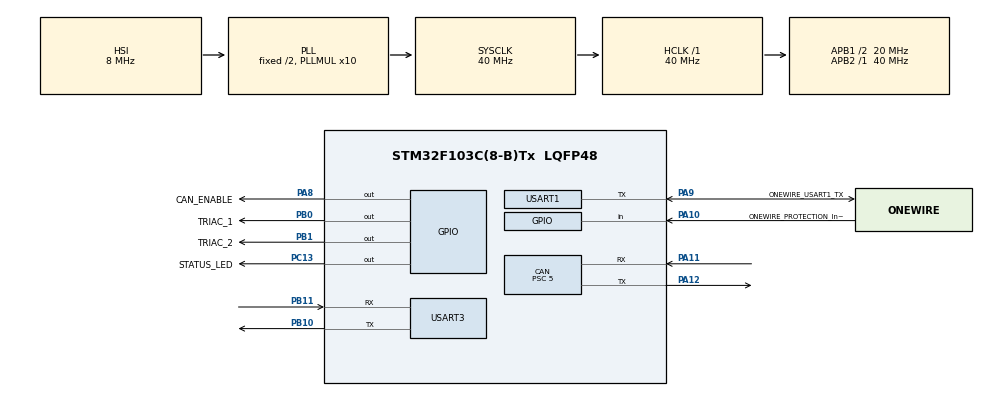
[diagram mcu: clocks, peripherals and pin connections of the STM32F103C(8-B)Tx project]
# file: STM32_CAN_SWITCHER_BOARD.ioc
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CAN.BS1=CAN_BS1_6TQ
CAN.CalculateBaudRate=500000
CAN.CalculateTimeBit=2000
CAN.CalculateTimeQuantum=250.0
CAN.Prescaler=5
Dma.Request0=USART3_TX
Dma.Request1=USART1_RX
Dma.Request2=USART1_TX
Dma.USART1_RX.1.Direction=DMA_PERIPH_TO_MEMORY
Dma.USART1_RX.1.Instance=DMA1_Channel5
Dma.USART1_RX.1.MemDataAlignment=DMA_MDATAALIGN_BYTE
Dma.USART1_RX.1.MemInc=DMA_MINC_ENABLE
Dma.USART1_RX.1.Mode=DMA_NORMAL
Dma.USART1_RX.1.PeriphDataAlignment=DMA_PDATAALIGN_BYTE
Dma.USART1_RX.1.PeriphInc=DMA_PINC_DISABLE
Dma.USART1_RX.1.Priority=DMA_PRIORITY_LOW
Dma.USART1_TX.2.Direction=DMA_MEMORY_TO_PERIPH
Dma.USART1_TX.2.Instance=DMA1_Channel4
Dma.USART1_TX.2.MemDataAlignment=DMA_MDATAALIGN_BYTE
Dma.USART1_TX.2.MemInc=DMA_MINC_ENABLE
Dma.USART1_TX.2.Mode=DMA_NORMAL
Dma.USART1_TX.2.PeriphDataAlignment=DMA_PDATAALIGN_BYTE
Dma.USART1_TX.2.PeriphInc=DMA_PINC_DISABLE
Dma.USART1_TX.2.Priority=DMA_PRIORITY_LOW
Dma.USART3_TX.0.Direction=DMA_MEMORY_TO_PERIPH
Dma.USART3_TX.0.Instance=DMA1_Channel2
Dma.USART3_TX.0.MemDataAlignment=DMA_MDATAALIGN_BYTE
Dma.USART3_TX.0.MemInc=DMA_MINC_ENABLE
Dma.USART3_TX.0.Mode=DMA_NORMAL
Dma.USART3_TX.0.PeriphDataAlignment=DMA_PDATAALIGN_BYTE
Dma.USART3_TX.0.PeriphInc=DMA_PINC_DISABLE
Dma.USART3_TX.0.Priority=DMA_PRIORITY_LOW
Mcu.Family=STM32F1
Mcu.Name=STM32F103C(8-B)Tx
Mcu.Package=LQFP48
NVIC.DMA1_Channel2_IRQn=true\:0\:0\:false\:false\:true\:false\:true\:true
NVIC.DMA1_Channel4_IRQn=true\:0\:0\:false\:false\:true\:false\:true\:true
NVIC.DMA1_Channel5_IRQn=true\:0\:0\:false\:false\:true\:false\:true\:true
NVIC.PriorityGroup=NVIC_PRIORITYGROUP_4
NVIC.TIM4_IRQn=true\:0\:0\:false\:false\:true\:true\:true\:true
NVIC.USART1_IRQn=true\:0\:0\:false\:false\:true\:true\:true\:true
NVIC.USART3_IRQn=true\:0\:0\:false\:false\:true\:true\:true\:true
PA10.GPIO_Label=ONEWIRE_PROTECTION_Input
PA10.GPIO_PuPd=GPIO_PULLUP
PA10.Signal=GPIO_Input
PA11.Mode=CAN_Activate
PA11.Signal=CAN_RX
PA12.Mode=CAN_Activate
PA12.Signal=CAN_TX
PA13.Mode=Serial_Wire
PA13.Signal=SYS_JTMS-SWDIO
PA14.Mode=Serial_Wire
PA14.Signal=SYS_JTCK-SWCLK
PA8.GPIO_Label=CAN_ENABLE
PA8.Signal=GPIO_Output
PA9.GPIO_Label=ONEWIRE_USART1_TX
PA9.Mode=Half_duplex(single_wire_mode)
PA9.Signal=USART1_TX
PB0.GPIO_Label=TRIAC_1
PB0.GPIO_ModeDefaultOutputPP=GPIO_MODE_OUTPUT_OD
PB0.GPIO_PuPd=GPIO_NOPULL
PB0.PinState=GPIO_PIN_SET
PB0.Signal=GPIO_Output
PB1.GPIO_Label=TRIAC_2
PB1.GPIO_ModeDefaultOutputPP=GPIO_MODE_OUTPUT_OD
PB1.GPIO_PuPd=GPIO_NOPULL
PB1.PinState=GPIO_PIN_SET
PB1.Signal=GPIO_Output
PB10.Mode=Asynchronous
PB10.Signal=USART3_TX
PB11.Mode=Asynchronous
PB11.Signal=USART3_RX
PC13-TAMPER-RTC.GPIO_Label=STATUS_LED
PC13-TAMPER-RTC.GPIO_ModeDefaultOutputPP=GPIO_MODE_OUTPUT_PP
PC13-TAMPER-RTC.GPIO_PuPd=GPIO_NOPULL
PC13-TAMPER-RTC.Signal=GPIO_Output
ProjectManager.HeapSize=0x200
ProjectManager.StackSize=0x400
ProjectManager.TargetToolchain=Makefile
RCC.AHBFreq_Value=40000000
RCC.APB1CLKDivider=RCC_HCLK_DIV2
RCC.APB1Freq_Value=20000000
RCC.APB1TimFreq_Value=40000000
RCC.APB2Freq_Value=40000000
RCC.APB2TimFreq_Value=40000000
RCC.HCLKFreq_Value=40000000
RCC.PLLMUL=RCC_PLL_MUL10
RCC.SYSCLKFreq_VALUE=40000000
RCC.SYSCLKSource=RCC_SYSCLKSOURCE_PLLCLK
RCC.USBFreq_Value=40000000
TIM4.Period=10000
TIM4.Prescaler=40
USART1.VirtualMode=VM_ASYNC
USART3.VirtualMode=VM_ASYNC
VP_TIM4_VS_ClockSourceINT.Mode=Internal
board=custom

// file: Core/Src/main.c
/* USER CODE BEGIN Header */
/**
  ******************************************************************************
  * @file           : main.c
  * @brief          : Main program body
  ******************************************************************************
  * @attention
  *
  * Copyright (c) 2022 STMicroelectronics.
  * All rights reserved.
  *
  * This software is licensed under terms that can be found in the LICENSE file
  * in the root directory of this software component.
  * If no LICENSE file comes with this software, it is provided AS-IS.
  *
  ******************************************************************************
  */
/* USER CODE END Header */
#include "main.h"

/* USER CODE BEGIN Includes */
#include <stdio.h>
#include "DallasTemperature.h"
#include "OneWire.h"
/* USER CODE END Includes */

CAN_HandleTypeDef hcan;

TIM_HandleTypeDef htim4;

UART_HandleTypeDef huart1;
UART_HandleTypeDef huart3;
DMA_HandleTypeDef hdma_usart1_rx;
DMA_HandleTypeDef hdma_usart1_tx;
DMA_HandleTypeDef hdma_usart3_tx;

void SystemClock_Config(void);
static void MX_GPIO_Init(void);
static void MX_DMA_Init(void);
static void MX_CAN_Init(void);
static void MX_USART3_UART_Init(void);
static void MX_TIM4_Init(void);
static void MX_USART1_UART_Init(void);

/* USER CODE BEGIN 0 */
/*
  these below suspends warning but may be not good
  https://stackoverflow.com/questions/73742774/gcc-arm-none-eabi-11-3-is-not-implemented-and-will-always-fail
*/
/* suspends warning >>>> */
int _close(int file) { return -1; }
void _lseek(void) {}
void _read(void) {}
int _fstat_r(void) { return -1; }
int _getpid_r(void) { return -1; }
int _isatty_r(void) { return -1; }
int _kill_r(/* struct _reent */ void  *ptr, int pid, int sig) { return -1; }
// int _write(int file, char *ptr, int len) {
//   int todo;
//   for (todo = 0; todo < len; todo++) {
//     // outbyte (*ptr++);
//   }
//   return len;
// }

/* suspends warning <<<< */

int _write(int file, char *ptr, int len)
{
  // HAL_UART_Transmit(&huart3, (uint8_t *)ptr, len, HAL_MAX_DELAY);
  HAL_UART_Transmit_DMA(&huart3, (uint8_t *)ptr, len);
  uint32_t tickstart = 0U;
  tickstart = HAL_GetTick();

  while (HAL_UART_GetState(&huart3) != HAL_UART_STATE_READY)
  {
    if ((HAL_GetTick() - tickstart) > 500)
    {
      // return OW_TIMEOUT;
      return 0;
    }
  }
  return len;
}

//#define BOILER_TEMP_CAN_ID 0x0d0
#define BOILER_TEMP_CAN_ID 0x0d0
//#define RELAY_CONTROL_CAN_ID 0x080
#define RELAY_CONTROL_CAN_ID 0x090
//#define RELAY_STATUS_CAN_ID 0x081
#define RELAY_STATUS_CAN_ID 0x091

#define DATA_WAIT_TIMEOUT 10

CAN_FilterTypeDef sFilterConfig;
CAN_TxHeaderTypeDef TxHeader;
CAN_RxHeaderTypeDef RxHeader;
uint8_t TxData[8];
uint8_t RxData[8];
uint32_t TxMailbox;

// static u8g2_t u8g2;

int32_t temperature;
uint32_t pressure;
uint32_t humidity;
float input_packet_boiler_temperature;
volatile uint8_t relays_status = 0x0;

volatile uint8_t input_packet_boiler_timeout = 0;

volatile uint8_t temperature1timeout = 0;
volatile uint8_t temperature2timeout = 0;
volatile uint8_t humidity1timeout = 0;
volatile uint8_t humidity2timeout = 0;

// function to print a device address
void printAddress(CurrentDeviceAddress deviceAddress)
{
  for (uint8_t i = 0; i < 8; i++)
  {
    char buf[4];
    sprintf(buf, "%02X ", deviceAddress[i]);
    printf(buf);
  }
}

void read_and_send_ds_data(void) {
  printf("Requesting temperatures...");

  char buf[50];
  DT_RequestTemperatures(); // Send the command to get temperatures
  printf("DONE\r\n");
  // After we got the temperatures, we can print them here.
  // We use the function ByIndex, and as an example get the temperature from the first sensor only.
  printf("Temperature for the device 1 (index 0) is: ");

  float ds_temperature = DEVICE_DISCONNECTED_C;
  int8_t err_c = DT_GetTempCByIndex(0, &ds_temperature);
  // float ds_temperature = DT_GetTempCByIndex(0);
  // sprintf(buf, "\n ds_temperature %.4f\r\n", ds_temperature);
  sprintf(buf, "\n err_c %i ds_temperature %f\r\n", err_c, ds_temperature);
  printf(buf);

  float value = ds_temperature;
  int value_int = (int)(value * 1000);               // Convert to an integer with 3 decimal places preserved
  printf("ds_temperature = %d.%d\n", value_int / 1000, value_int % 1000); // Print as two integers

  TxHeader.StdId = BOILER_TEMP_CAN_ID;
  TxHeader.DLC = 5;
  /* set onewire reading error */
  TxData[0] = err_c;

  uint8_t protection_staus = HAL_GPIO_ReadPin(ONEWIRE_PROTECTION_Input_GPIO_Port, ONEWIRE_PROTECTION_Input_Pin);
  printf("ds_short circuit = %d\n", protection_staus); // Print as two integers

  /* set power short circuit protection */
  if (protection_staus == 0) { /* low means protection was triggered */
    TxData[0] = TxData[0] | 0b10000000;
  }
  /* copy temperature value */
  for (int i=0; i<4 ;++i) {
    TxData[i + 1] = ((uint8_t*)&ds_temperature)[i];
  }
  HAL_CAN_AddTxMessage(&hcan, &TxHeader, TxData, &TxMailbox);

  // HAL_Delay(2500);
  // /* send relays status */
  // TxHeader.StdId = RELAY_STATUS_CAN_ID;
  // TxHeader.DLC = 1;
  // TxData[0] = relays_status;
  // HAL_CAN_AddTxMessage(&hcan, &TxHeader, TxData, &TxMailbox);
}

/* USER CODE END 0 */

int main(void)
{

  /* MCU Configuration--------------------------------------------------------*/

  /* Reset of all peripherals, Initializes the Flash interface and the Systick. */
  HAL_Init();

  /* Configure the system clock */
  SystemClock_Config();

  /* Initialize all configured peripherals */
  MX_GPIO_Init();
  MX_DMA_Init();
  MX_CAN_Init();
  MX_USART3_UART_Init();
  MX_TIM4_Init();
  MX_USART1_UART_Init();
  /* USER CODE BEGIN 2 */

  HAL_GPIO_WritePin(CAN_ENABLE_GPIO_Port, CAN_ENABLE_Pin, GPIO_PIN_RESET);

  sFilterConfig.FilterBank = 0;
  sFilterConfig.FilterMode = CAN_FILTERMODE_IDMASK;
  sFilterConfig.FilterScale = CAN_FILTERSCALE_32BIT;
  sFilterConfig.FilterIdHigh = 0x0000;
  sFilterConfig.FilterIdLow = 0x0000;
  sFilterConfig.FilterMaskIdHigh = 0x0000;
  sFilterConfig.FilterMaskIdLow = 0x0000;
  sFilterConfig.FilterFIFOAssignment = CAN_RX_FIFO0;
  sFilterConfig.FilterActivation = ENABLE;
  sFilterConfig.SlaveStartFilterBank = 14;
  if (HAL_CAN_ConfigFilter(&hcan, &sFilterConfig) != HAL_OK)
  {
    /* Filter configuration Error */
    Error_Handler();
  }

  if (HAL_CAN_Start(&hcan) != HAL_OK)
  {
    /* Start Error */
    Error_Handler();
  }

  if (HAL_CAN_ActivateNotification(&hcan, CAN_IT_RX_FIFO0_MSG_PENDING | CAN_IT_TX_MAILBOX_EMPTY) != HAL_OK)
  {
    /* Notification Error */
    Error_Handler();
  }

  // TxHeader.StdId = BOILER_TEMP_CAN_ID;
  // TxHeader.ExtId = 0x00;
  // TxHeader.RTR = CAN_RTR_DATA;
  // TxHeader.IDE = CAN_ID_STD;
  // TxHeader.DLC = 4;
  // TxHeader.TransmitGlobalTime = DISABLE;
  // TxData[0] = 1;
  // TxData[1] = 2;
  // TxData[2] = 3;
  // TxData[3] = 4;

  uint8_t ds_error = 0;

  printf("Debug UART is OK!\r\n");

  // if (OW_Reset() == OW_OK)
  // {
  //   printf("OneWire devices are present :)\r\n");
  // }
  // else
  // {
  //   printf("OneWire no devices :(\r\n");
  // }

  // arrays to hold device address
  CurrentDeviceAddress insideThermometer;

  // locate devices on the bus
  char buf[30];

  OW_Init();
  OW_Reset();

  if (OW_Reset() == OW_OK)
  {
    printf("[%8lu] OneWire 1 line devices are present :)\r\n", HAL_GetTick());
  }
  else
  {
    printf("[%8lu] OneWire 1 line no devices :(\r\n", HAL_GetTick());
  }

  DT_SetWaitForConversion(1);

  printf("Locating devices...\n");
  ds_error = DT_Begin();
  if (ds_error != DS_OK)
  {
    sprintf(buf, "DT_Begin err %d \n", ds_error);
    printf(buf);
  }

  printf("Found ");
  sprintf(buf, "%d devices.\n", DT_GetDeviceCount());
  printf(buf);

  // report parasite power requirements
  printf("Parasite power is: ");
  if (DT_IsParasitePowerMode())
    printf("ON\r\n");
  else
    printf("OFF\r\n");

  if (!DT_GetAddress(insideThermometer, 0))
    printf("Unable to find address for Device 0\r\n");

  printf("Device 0 Address: ");
  printAddress(insideThermometer);
  printf("\r\n");

  // set the resolution to 12 bit (Each Dallas/Maxim device is capable of several different resolutions)
  DT_SetResolution(insideThermometer, 12, true);

  printf("Device 0 Resolution: ");
  sprintf(buf, "%d", DT_GetResolution(insideThermometer));
  printf(buf);
  printf("\r\n");

  /* USER CODE END 2 */

  /* Infinite loop */
  while (1)
  {

    /* USER CODE BEGIN 3 */

    HAL_GPIO_TogglePin(STATUS_LED_GPIO_Port, STATUS_LED_Pin);
    HAL_GPIO_TogglePin(TRIAC_1_GPIO_Port, TRIAC_1_Pin);
    HAL_GPIO_TogglePin(TRIAC_2_GPIO_Port, TRIAC_2_Pin);

    read_and_send_ds_data();

    // HAL_Delay(250);
    HAL_Delay(1000);
    // HAL_Delay(2500);
  }
  /* USER CODE END 3 */
}

void SystemClock_Config(void)
{
  RCC_OscInitTypeDef RCC_OscInitStruct = {0};
  RCC_ClkInitTypeDef RCC_ClkInitStruct = {0};

  /** Initializes the RCC Oscillators according to the specified parameters
  * in the RCC_OscInitTypeDef structure.
  */
  RCC_OscInitStruct.OscillatorType = RCC_OSCILLATORTYPE_HSI;
  RCC_OscInitStruct.HSIState = RCC_HSI_ON;
  RCC_OscInitStruct.HSICalibrationValue = RCC_HSICALIBRATION_DEFAULT;
  RCC_OscInitStruct.PLL.PLLState = RCC_PLL_ON;
  RCC_OscInitStruct.PLL.PLLSource = RCC_PLLSOURCE_HSI_DIV2;
  RCC_OscInitStruct.PLL.PLLMUL = RCC_PLL_MUL10;
  if (HAL_RCC_OscConfig(&RCC_OscInitStruct) != HAL_OK)
  {
    Error_Handler();
  }

  /** Initializes the CPU, AHB and APB buses clocks
  */
  RCC_ClkInitStruct.ClockType = RCC_CLOCKTYPE_HCLK|RCC_CLOCKTYPE_SYSCLK
                              |RCC_CLOCKTYPE_PCLK1|RCC_CLOCKTYPE_PCLK2;
  RCC_ClkInitStruct.SYSCLKSource = RCC_SYSCLKSOURCE_PLLCLK;
  RCC_ClkInitStruct.AHBCLKDivider = RCC_SYSCLK_DIV1;
  RCC_ClkInitStruct.APB1CLKDivider = RCC_HCLK_DIV2;
  RCC_ClkInitStruct.APB2CLKDivider = RCC_HCLK_DIV1;

  if (HAL_RCC_ClockConfig(&RCC_ClkInitStruct, FLASH_LATENCY_1) != HAL_OK)
  {
    Error_Handler();
  }
}

static void MX_CAN_Init(void)
{

  hcan.Instance = CAN1;
  hcan.Init.Prescaler = 10;
  hcan.Init.Mode = CAN_MODE_NORMAL;
  hcan.Init.SyncJumpWidth = CAN_SJW_1TQ;
  hcan.Init.TimeSeg1 = CAN_BS1_13TQ;
  hcan.Init.TimeSeg2 = CAN_BS2_2TQ;
  hcan.Init.TimeTriggeredMode = DISABLE;
  hcan.Init.AutoBusOff = DISABLE;
  hcan.Init.AutoWakeUp = DISABLE;
  hcan.Init.AutoRetransmission = DISABLE;
  hcan.Init.ReceiveFifoLocked = DISABLE;
  hcan.Init.TransmitFifoPriority = DISABLE;
  if (HAL_CAN_Init(&hcan) != HAL_OK)
  {
    Error_Handler();
  }

}

static void MX_TIM4_Init(void)
{

  TIM_ClockConfigTypeDef sClockSourceConfig = {0};
  TIM_MasterConfigTypeDef sMasterConfig = {0};

  htim4.Instance = TIM4;
  htim4.Init.Prescaler = 40;
  htim4.Init.CounterMode = TIM_COUNTERMODE_UP;
  htim4.Init.Period = 10000;
  htim4.Init.ClockDivision = TIM_CLOCKDIVISION_DIV1;
  htim4.Init.AutoReloadPreload = TIM_AUTORELOAD_PRELOAD_DISABLE;
  if (HAL_TIM_Base_Init(&htim4) != HAL_OK)
  {
    Error_Handler();
  }
  sClockSourceConfig.ClockSource = TIM_CLOCKSOURCE_INTERNAL;
  if (HAL_TIM_ConfigClockSource(&htim4, &sClockSourceConfig) != HAL_OK)
  {
    Error_Handler();
  }
  sMasterConfig.MasterOutputTrigger = TIM_TRGO_RESET;
  sMasterConfig.MasterSlaveMode = TIM_MASTERSLAVEMODE_DISABLE;
  if (HAL_TIMEx_MasterConfigSynchronization(&htim4, &sMasterConfig) != HAL_OK)
  {
    Error_Handler();
  }

}

static void MX_USART1_UART_Init(void)
{

  huart1.Instance = USART1;
  huart1.Init.BaudRate = 115200;
  huart1.Init.WordLength = UART_WORDLENGTH_8B;
  huart1.Init.StopBits = UART_STOPBITS_1;
  huart1.Init.Parity = UART_PARITY_NONE;
  huart1.Init.Mode = UART_MODE_TX_RX;
  huart1.Init.HwFlowCtl = UART_HWCONTROL_NONE;
  huart1.Init.OverSampling = UART_OVERSAMPLING_16;
  if (HAL_HalfDuplex_Init(&huart1) != HAL_OK)
  {
    Error_Handler();
  }

}

static void MX_USART3_UART_Init(void)
{

  huart3.Instance = USART3;
  huart3.Init.BaudRate = 115200;
  huart3.Init.WordLength = UART_WORDLENGTH_8B;
  huart3.Init.StopBits = UART_STOPBITS_1;
  huart3.Init.Parity = UART_PARITY_NONE;
  huart3.Init.Mode = UART_MODE_TX_RX;
  huart3.Init.HwFlowCtl = UART_HWCONTROL_NONE;
  huart3.Init.OverSampling = UART_OVERSAMPLING_16;
  if (HAL_UART_Init(&huart3) != HAL_OK)
  {
    Error_Handler();
  }

}

static void MX_DMA_Init(void)
{

  /* DMA controller clock enable */
  __HAL_RCC_DMA1_CLK_ENABLE();

  /* DMA interrupt init */
  /* DMA1_Channel2_IRQn interrupt configuration */
  HAL_NVIC_SetPriority(DMA1_Channel2_IRQn, 0, 0);
  HAL_NVIC_EnableIRQ(DMA1_Channel2_IRQn);
  /* DMA1_Channel4_IRQn interrupt configuration */
  HAL_NVIC_SetPriority(DMA1_Channel4_IRQn, 0, 0);
  HAL_NVIC_EnableIRQ(DMA1_Channel4_IRQn);
  /* DMA1_Channel5_IRQn interrupt configuration */
  HAL_NVIC_SetPriority(DMA1_Channel5_IRQn, 0, 0);
  HAL_NVIC_EnableIRQ(DMA1_Channel5_IRQn);

}

static void MX_GPIO_Init(void)
{
  GPIO_InitTypeDef GPIO_InitStruct = {0};

  /* GPIO Ports Clock Enable */
  __HAL_RCC_GPIOC_CLK_ENABLE();
  __HAL_RCC_GPIOB_CLK_ENABLE();
  __HAL_RCC_GPIOA_CLK_ENABLE();

  /*Configure GPIO pin Output Level */
  HAL_GPIO_WritePin(STATUS_LED_GPIO_Port, STATUS_LED_Pin, GPIO_PIN_RESET);

  /*Configure GPIO pin Output Level */
  HAL_GPIO_WritePin(GPIOB, TRIAC_1_Pin|TRIAC_2_Pin, GPIO_PIN_SET);

  /*Configure GPIO pin Output Level */
  HAL_GPIO_WritePin(CAN_ENABLE_GPIO_Port, CAN_ENABLE_Pin, GPIO_PIN_RESET);

  /*Configure GPIO pin : STATUS_LED_Pin */
  GPIO_InitStruct.Pin = STATUS_LED_Pin;
  GPIO_InitStruct.Mode = GPIO_MODE_OUTPUT_PP;
  GPIO_InitStruct.Pull = GPIO_NOPULL;
  GPIO_InitStruct.Speed = GPIO_SPEED_FREQ_LOW;
  HAL_GPIO_Init(STATUS_LED_GPIO_Port, &GPIO_InitStruct);

  /*Configure GPIO pins : TRIAC_1_Pin TRIAC_2_Pin */
  GPIO_InitStruct.Pin = TRIAC_1_Pin|TRIAC_2_Pin;
  GPIO_InitStruct.Mode = GPIO_MODE_OUTPUT_OD;
  GPIO_InitStruct.Pull = GPIO_NOPULL;
  GPIO_InitStruct.Speed = GPIO_SPEED_FREQ_LOW;
  HAL_GPIO_Init(GPIOB, &GPIO_InitStruct);

  /*Configure GPIO pin : CAN_ENABLE_Pin */
  GPIO_InitStruct.Pin = CAN_ENABLE_Pin;
  GPIO_InitStruct.Mode = GPIO_MODE_OUTPUT_PP;
  GPIO_InitStruct.Pull = GPIO_NOPULL;
  GPIO_InitStruct.Speed = GPIO_SPEED_FREQ_LOW;
  HAL_GPIO_Init(CAN_ENABLE_GPIO_Port, &GPIO_InitStruct);

  /*Configure GPIO pin : ONEWIRE_PROTECTION_Input_Pin */
  GPIO_InitStruct.Pin = ONEWIRE_PROTECTION_Input_Pin;
  GPIO_InitStruct.Mode = GPIO_MODE_INPUT;
  GPIO_InitStruct.Pull = GPIO_PULLUP;
  HAL_GPIO_Init(ONEWIRE_PROTECTION_Input_GPIO_Port, &GPIO_InitStruct);

}

/* USER CODE BEGIN 4 */

void HAL_CAN_TxMailbox0CompleteCallback(CAN_HandleTypeDef *hcan_)
{
//  HAL_GPIO_TogglePin(GPIOC, LED_Pin);
}

void HAL_CAN_RxFifo0MsgPendingCallback(CAN_HandleTypeDef *hcan_)
{
  // HAL_CAN_GetRxMessage(&hcan, CAN_RX_FIFO0, &RxHeader, RxData);
//  HAL_GPIO_TogglePin(GPIOC, LED_Pin);
//
//   uint32_t u;
//    u = RxData[0];
//    u += (uint32_t)(RxData[1] << 8);
//    u += (uint32_t)(RxData[2] << 16);
//    u += (uint32_t)(RxData[3] << 24);
//
//
//
//
//  if(RxHeader.StdId==0xf0){
//    pressure = u;
//  }else if(RxHeader.StdId==0xf0+1){
//    temperature = u;
//    temperature1timeout = 0;
//    temperature2timeout = 0;
//  }else if(RxHeader.StdId==0xf0+2){
//    humidity = u;
//    humidity1timeout = 0;
//    humidity2timeout = 0;
//  }else if(RxHeader.StdId==RELAY_CONTROL_CAN_ID){
//    Control_peripheral_relays(RxData[0]);
//  }else if(RxHeader.StdId==BOILER_TEMP_CAN_ID){
//    input_packet_boiler_temperature = u;
//    for (int i=0; i<4 ;++i) {
//      ((uint8_t*)&input_packet_boiler_temperature)[i] = RxData[i];
//    }
//    input_packet_boiler_timeout = 0;
//  }
}

void HAL_TIM_PeriodElapsedCallback(TIM_HandleTypeDef *htim)
{
  // if (htim->Instance == TIM1)
  // {
  //   //  HAL_GPIO_TogglePin(GPIOC, LED_Pin);
  //   ++temperature1timeout;
  //   ++temperature2timeout;
  //   ++humidity1timeout;
  //   ++humidity2timeout;
  //   ++input_packet_boiler_timeout;

  //   if (temperature1timeout >= DATA_WAIT_TIMEOUT)
  //   {
  //     temperature1timeout = DATA_WAIT_TIMEOUT;
  //   }

  //   if (temperature2timeout >= DATA_WAIT_TIMEOUT)
  //   {
  //     temperature2timeout = DATA_WAIT_TIMEOUT;
  //   }

  //   if (humidity1timeout >= DATA_WAIT_TIMEOUT)
  //   {
  //     humidity1timeout = DATA_WAIT_TIMEOUT;
  //   }

  //   if (humidity2timeout >= DATA_WAIT_TIMEOUT)
  //   {
  //     humidity2timeout = DATA_WAIT_TIMEOUT;
  //   }

  //   if (input_packet_boiler_timeout >= DATA_WAIT_TIMEOUT)
  //   {
  //     input_packet_boiler_timeout = DATA_WAIT_TIMEOUT;
  //   }
  // }
}

/* USER CODE END 4 */

void Error_Handler(void)
{
  __disable_irq();
  while (1)
  {
  }
}
